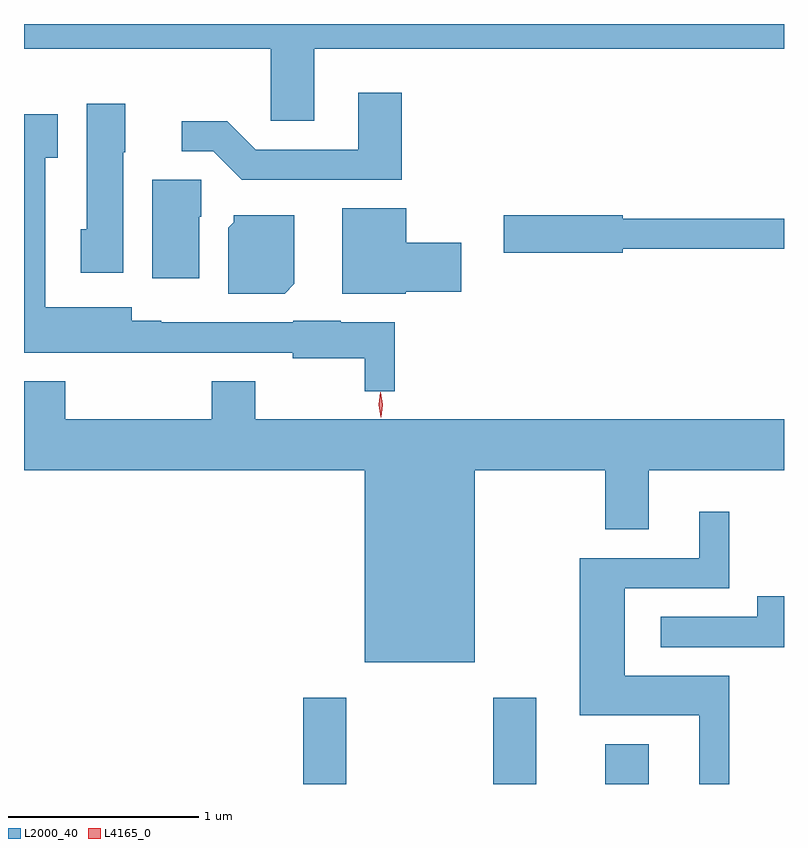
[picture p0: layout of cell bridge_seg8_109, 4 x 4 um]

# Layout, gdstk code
import gdstk
lib = gdstk.Library(unit=1e-6, precision=1e-09)
def R(c, l, rs):  # rectangles x0, y0, x1, y1
    for r in rs: c.add(gdstk.rectangle(r[:2], r[2:], *l))
def P(c, l, *ps):  # polygons
    for p in ps: c.add(gdstk.Polygon(p, *l))
L2000_40 = (2000, 40)
L4165_0 = (4165, 0)

bridge_seg8_109 = lib.new_cell('bridge_seg8_109')
R(bridge_seg8_109, L2000_40, [(1504.401,1821.445,1504.629,1821.899), (1505.401,1821.445,1505.629,1821.899), (1505.991,1821.445,1506.219,1821.654)])
P(bridge_seg8_109, L2000_40, [(1504.459,1825.316),(1506.932,1825.316),(1506.932,1825.445),(1502.932,1825.445),(1502.932,1825.316),(1504.231,1825.316),(1504.231,1824.936),(1504.459,1824.936)],
  [(1504.919,1825.084),(1504.691,1825.084),(1504.691,1824.784),(1504.152,1824.784),(1504.002,1824.934),(1503.763,1824.934),(1503.763,1824.776),(1503.929,1824.776),(1504.079,1824.626),(1504.919,1824.626)],
  [(1503.454,1824.77),(1503.464,1824.77),(1503.464,1825.024),(1503.261,1825.024),(1503.261,1824.364),(1503.231,1824.364),(1503.231,1824.136),(1503.454,1824.136)],
  [(1504.884,1823.874),(1504.6,1823.874),(1504.6,1823.884),(1504.35,1823.884),(1504.35,1823.874),(1503.655,1823.874),(1503.655,1823.884),(1503.499,1823.884),(1503.499,1823.954),(1503.044,1823.954),(1503.044,1824.741),(1503.109,1824.741),(1503.109,1824.969),(1502.932,1824.969),(1502.932,1823.716),(1504.346,1823.716),(1504.346,1823.686),(1504.726,1823.686),(1504.726,1823.513),(1504.884,1823.513)],
  [(1503.854,1824.43),(1503.864,1824.43),(1503.864,1824.624),(1503.606,1824.624),(1503.606,1824.106),(1503.854,1824.106)],
  [(1504.94,1824.036),(1505.234,1824.036),(1505.234,1824.294),(1504.944,1824.294),(1504.944,1824.474),(1504.606,1824.474),(1504.606,1824.026),(1504.94,1824.026)],
  [(1504.354,1824.077),(1504.354,1824.439),(1504.036,1824.439),(1504.036,1824.402),(1504.006,1824.372),(1504.006,1824.026),(1504.304,1824.026)],
  [(1506.084,1824.261),(1506.932,1824.261),(1506.932,1824.419),(1506.084,1824.419),(1506.084,1824.439),(1505.456,1824.439),(1505.456,1824.241),(1506.084,1824.241)],
  [(1505.304,1823.096),(1505.991,1823.096),(1505.991,1822.786),(1506.219,1822.786),(1506.219,1823.096),(1506.932,1823.096),(1506.932,1823.364),(1504.149,1823.364),(1504.149,1823.564),(1503.921,1823.564),(1503.921,1823.364),(1503.149,1823.364),(1503.149,1823.564),(1502.932,1823.564),(1502.932,1823.096),(1504.726,1823.096),(1504.726,1822.086),(1505.304,1822.086)],
  [(1506.644,1822.014),(1506.094,1822.014),(1506.094,1822.476),(1506.644,1822.476),(1506.644,1822.878),(1506.486,1822.878),(1506.486,1822.634),(1505.856,1822.634),(1505.856,1821.806),(1506.486,1821.806),(1506.486,1821.445),(1506.644,1821.445)],
  [(1506.932,1822.434),(1506.791,1822.434),(1506.791,1822.324),(1506.283,1822.324),(1506.283,1822.166),(1506.932,1822.166)])
P(bridge_seg8_109, L4165_0, [(1504.81,1823.375),(1504.81,1823.376),(1504.8,1823.441),(1504.808,1823.507),(1504.809,1823.508),(1504.809,1823.507),(1504.82,1823.442),(1504.811,1823.376)])

lib.write_gds('bridge_seg8_109.gds')
